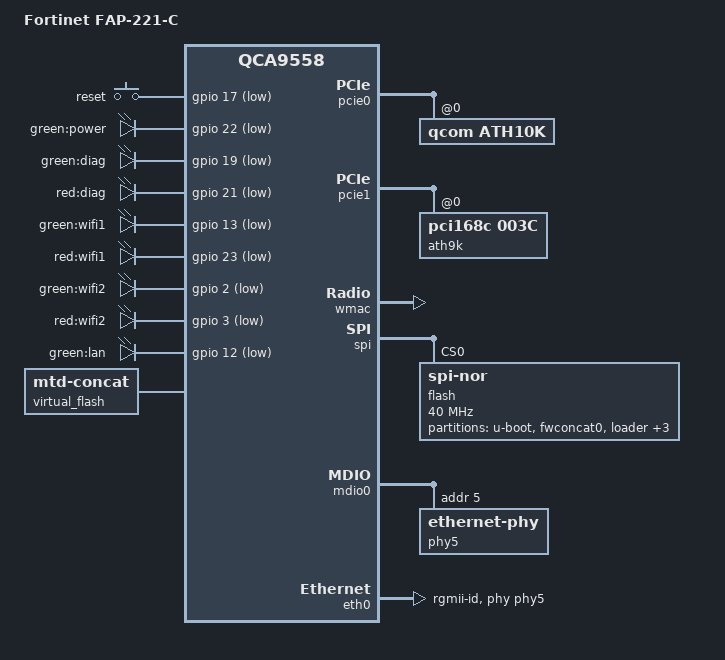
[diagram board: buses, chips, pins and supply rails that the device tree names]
// SPDX-License-Identifier: GPL-2.0-or-later OR MIT

#include "qca955x.dtsi"

#include <dt-bindings/mtd/partitions/uimage.h>

#include <dt-bindings/gpio/gpio.h>
#include <dt-bindings/input/input.h>

/ {
	compatible = "fortinet,fap-221-c", "qca,qca9558";
	model = "Fortinet FAP-221-C";

	chosen {
		bootargs = "console=ttyS0,9600";
	};

	aliases {
		label-mac-device = &eth0;
		led-boot = &led_diag_green;
		led-running = &led_power;
		led-upgrade = &led_diag_red;
		led-failsafe = &led_diag_red;
	};

	keys {
		compatible = "gpio-keys";

		reset {
			label = "reset";
			gpios = <&gpio 17 GPIO_ACTIVE_LOW>;
			debounce-interval = <60>;
			linux,code = <KEY_RESTART>;
		};
	};

	leds {
		compatible = "gpio-leds";

		pinctrl-names = "default";
		pinctrl-0 = <&enable_gpio_2_3 &jtag_disable_pins>;

		led_power: power {
			label = "green:power";
			gpios = <&gpio 22 GPIO_ACTIVE_LOW>;
			default-state = "on";
		};

		led_diag_green: diag_green {
			label = "green:diag";
			gpios = <&gpio 19 GPIO_ACTIVE_LOW>;
		};

		led_diag_red: diag_red {
			label = "red:diag";
			gpios = <&gpio 21 GPIO_ACTIVE_LOW>;
		};

		wifi1_green {
			label = "green:wifi1";
			gpios = <&gpio 13 GPIO_ACTIVE_LOW>;
			linux,default-trigger = "phy0tpt";
		};

		wifi1_red {
			label = "red:wifi1";
			gpios = <&gpio 23 GPIO_ACTIVE_LOW>;
		};

		wifi2_green {
			label = "green:wifi2";
			gpios = <&gpio 2 GPIO_ACTIVE_LOW>;
			linux,default-trigger = "phy1tpt";
		};

		wifi2_red {
			label = "red:wifi2";
			gpios = <&gpio 3 GPIO_ACTIVE_LOW>;
		};

		lan_green {
			label = "green:lan";
			gpios = <&gpio 12 GPIO_ACTIVE_LOW>;
		};

	};

	virtual_flash {
		compatible = "mtd-concat";

		devices = <&fwconcat0 &fwconcat1>;

		partitions {
			compatible = "fixed-partitions";
			#address-cells = <1>;
			#size-cells = <1>;

			partition@0 {
				compatible = "openwrt,uimage", "denx,uimage";
				openwrt,ih-magic = <0x73714f4b>;
				label = "firmware";
				reg = <0x0 0x0>;
			};
		};
	};
};

&pinmux {
	enable_gpio_2_3: pinmux_enable_gpio_2_3 {
		pinctrl-single,bits = <0x00 0x0  0xffff0000>;
	};
};

&pcie0 {
	status = "okay";

	ath10k: wifi@0,0,0 {
		compatible = "qcom,ath10k";
		reg = <0x0 0 0 0 0>;

		nvmem-cells = <&calibration_art_5000>;
		nvmem-cell-names = "calibration";
	};
};

&pcie1 {
	status = "okay";

	ath9k: wifi@0,0 {
		compatible = "pci168c,003c";
		reg = <0x0000 0 0 0 0>;
	};
};

&wmac {
	status = "okay";

	qca,no-eeprom;

	nvmem-cells = <&calibration_art_1000>;
	nvmem-cell-names = "calibration";
};

&spi {
	status = "okay";

	flash@0 {
		compatible = "jedec,spi-nor";
		reg = <0>;
		spi-max-frequency = <40000000>;

		partitions: partitions {
			compatible = "fixed-partitions";
			#address-cells = <1>;
			#size-cells = <1>;

			partition@0 {
				label = "u-boot";
				reg = <0x000000 0x040000>;
				read-only;
			};

			fwconcat0: partition@40000 {
				label = "fwconcat0";
				reg = <0x040000 0x1400000>;
			};

			partition@1440000 {
				label = "loader";
				reg = <0x1440000 0x010000>;
			};

			fwconcat1: partition@1450000 {
				label = "fwconcat1";
				reg = <0x1450000 0x03f0000>;
			};

			partition@1840000 {
				label = "reserved";
				reg = <0x1840000 0x7B0000>;
				read-only;
			};

			art: partition@1ff0000 {
				label = "art";
				reg = <0x1ff0000 0x010000>;
				read-only;
			};
		};
	};
};

&mdio0 {
	status = "okay";

	phy5: ethernet-phy@5 {
		reg = <5>;
	};
};

&eth0 {
	status = "okay";

	phy-handle = <&phy5>;
	phy-mode = "rgmii-id";

	pll-data = <0x82000000 0x80000101 0x80001313>;
};

&art {
	compatible = "nvmem-cells";
	#address-cells = <1>;
	#size-cells = <1>;

	calibration_art_1000: calibration@1000 {
		reg = <0x1000 0x440>;
	};

	calibration_art_5000: calibration@5000 {
		reg = <0x5000 0x844>;
	};
};
